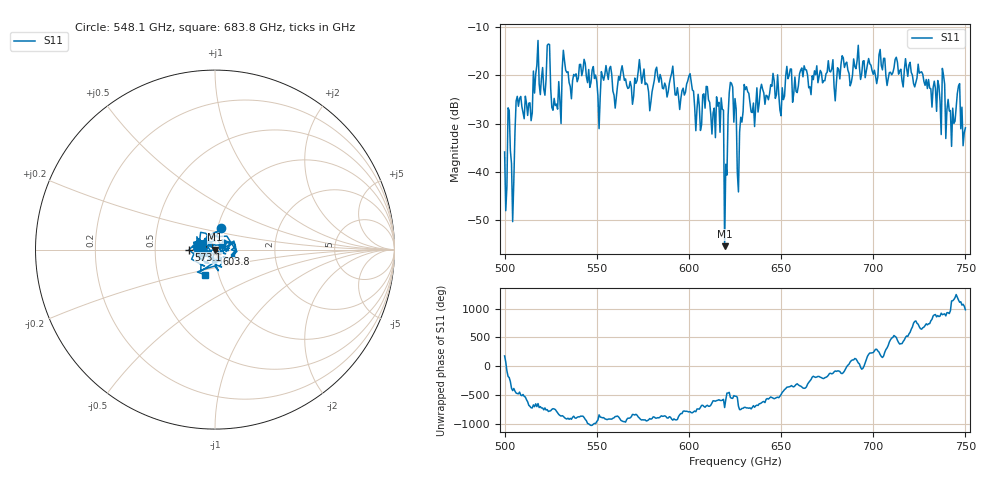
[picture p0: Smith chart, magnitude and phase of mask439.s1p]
!Created with skrf (http://scikit-rf.org).
# GHz S MA R 50.0
!freq magS11 angS11
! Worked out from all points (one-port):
!   401 points, 500 GHz to 750 GHz, reference 50 ohm
!   lowest |S11| = -55.3 dB at 619.4 GHz (marker M1), VSWR 1.00, Z = 50.2 + j0.00899 ohm
!   |S11| at or under -10 dB: start of sweep to end of sweep
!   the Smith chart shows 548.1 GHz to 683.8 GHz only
!   S11 on the Smith chart (normalised r, x): 548.1 GHz: 1.04, +0.25; 573.1 GHz: 0.75, -0.00; 603.8 GHz: 1.02, -0.05; 683.8 GHz: 0.86, -0.25
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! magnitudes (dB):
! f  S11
! 500 GHz  -35.9
! 502.5 GHz  -27.3
! 504.4 GHz  -50.3
! 507.5 GHz  -26.4
! 513.8 GHz  -25.7
! 516.9 GHz  -19.8
! 523.8 GHz  -13.6
! 526.9 GHz  -24.8
! 531.2 GHz  -18.7
! 548.1 GHz  -18.2
! 562.5 GHz  -21.1
! 573.1 GHz  -16.8
! 593.8 GHz  -22.6
! 603.8 GHz  -31.5
! 617.5 GHz  -24.7
! 619.4 GHz  -55.3
! 620.6 GHz  -40.7
! 622.5 GHz  -21.5
! 625 GHz  -24.8
! 627.5 GHz  -31.8
! 631.2 GHz  -22.4
! 656.2 GHz  -25.6
! 683.8 GHz  -16.4
! 687.5 GHz  -22.2
! 718.8 GHz  -20.3
! 743.1 GHz  -26.8
! 746.9 GHz  -21.8
! 750 GHz  -30.9
